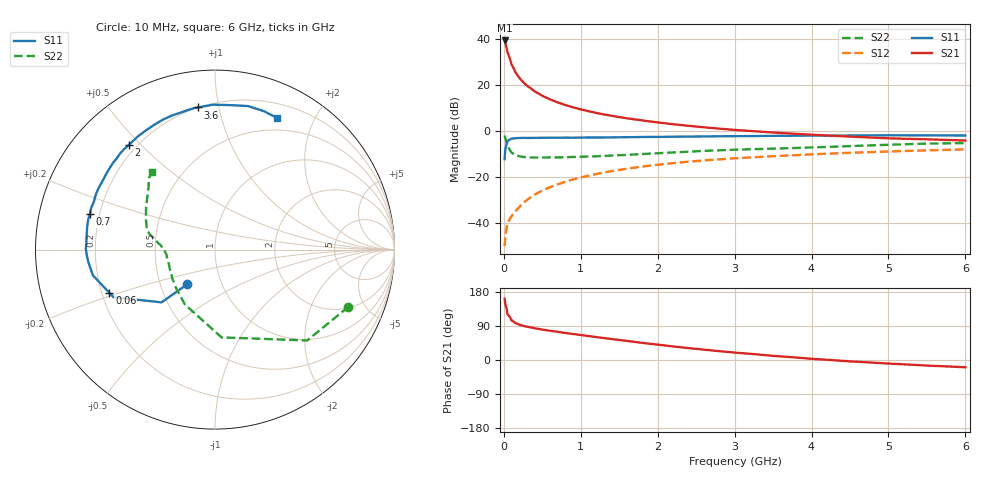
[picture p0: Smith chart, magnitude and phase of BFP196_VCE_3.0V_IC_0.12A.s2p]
! (c) 2017  Infineon Technologies AG, Munich
! Infineon Technologies  Discrete & RF Semiconductors
! BFP196
! VCE =  3.0 V,  IC = 0.12 A
! Common Emitter S-Parameters:  Jan 2017
# GHz  S  MA  R  50
!  f  S11  S21  S12  S22
! GHz  MAG  ANG  MAG  ANG  MAG  ANG  MAG  ANG
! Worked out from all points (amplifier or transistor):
!   77 points, 10 MHz to 6 GHz, reference 50 ohm
!   highest |S21| = 39.5 dB at 10 MHz (marker M1)
!   |S21| within 3 dB of that: start of sweep to 33.85 MHz
!   unconditionally stable (mu >= 1): 277.4 MHz to 2.547 GHz
!   at 130 MHz: K = 0.84, MSG = 31.4 dB, |S12| = -35.5 dB
!   at 2.2 GHz: K = 1.01, MAG = 7.8 dB, |S12| = -13.8 dB
!   at 6 GHz: K = 0.98, MSG = 1.9 dB, |S12| = -7.8 dB
!   S11 on the Smith chart (normalised r, x): 10 MHz: 0.68, -0.28; 60 MHz: 0.23, -0.19; 700 MHz: 0.16, +0.13; 2 GHz: 0.17, +0.46; 3.6 GHz: 0.20, +0.86; 6 GHz: 0.35, +1.52
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0.01  0.2484 -128.7  94.02 161.5  0.0032 74.2  0.8092 -23.2
0.02  0.4187 -135.4  83.19 146.0  0.0055 68.6  0.721 -44.6
0.05  0.6241 -154.8  50.79 119.7  0.0102 54.9  0.4906 -85.7
0.06  0.6354 -157.7  46.11 117.8  0.011 56.1  0.4527 -90.5
0.1  0.6949 -168.0  28.32 104.2  0.0143 59.6  0.3491 -118.6
0.15  0.7081 -174.0  19.3 97.7  0.0184 64.2  0.3047 -135.5
0.2  0.7153 -177.5  14.59 93.4  0.0225 67.5  0.2874 -145.6
0.25  0.72 179.5  11.71 90.2  0.0278 68.8  0.2777 -152.0
0.3  0.7175 177.3  9.78 87.9  0.0322 70.7  0.2733 -157.2
0.4  0.7197 173.5  7.377 83.8  0.0422 71.7  0.2691 -163.3
0.5  0.723 170.1  5.905 80.3  0.0515 71.9  0.2692 -167.6
0.7  0.7251 164.3  4.24 74.4  0.0706 70.9  0.2709 -173.4
0.9  0.7258 158.5  3.308 68.6  0.0901 68.6  0.2771 -176.7
1.1  0.7334 153.0  2.732 63.2  0.1085 66.6  0.283 -179.6
1.5  0.7417 142.5  2.033 52.9  0.1451 60.7  0.3026 175.7
2  0.7554 129.5  1.56 40.4  0.1875 53.2  0.3338 171.4
2.1  0.7585 126.9  1.491 38.2  0.1954 51.7  0.3408 170.4
3.1  0.7856 105.8  1.045 18.0  0.2647 37.2  0.4031 161.1
3.6  0.7977 97.0  0.921 9.5  0.2934 30.9  0.4249 154.9
4.1  0.8069 89.3  0.828 1.9  0.3204 24.6  0.4517 148.0
5.1  0.8193 75.7  0.698 -10.4  0.3683 12.7  0.5163 135.7
6  0.811 64.8  0.631 -19.2  0.4052 2.6  0.5551 129.3
